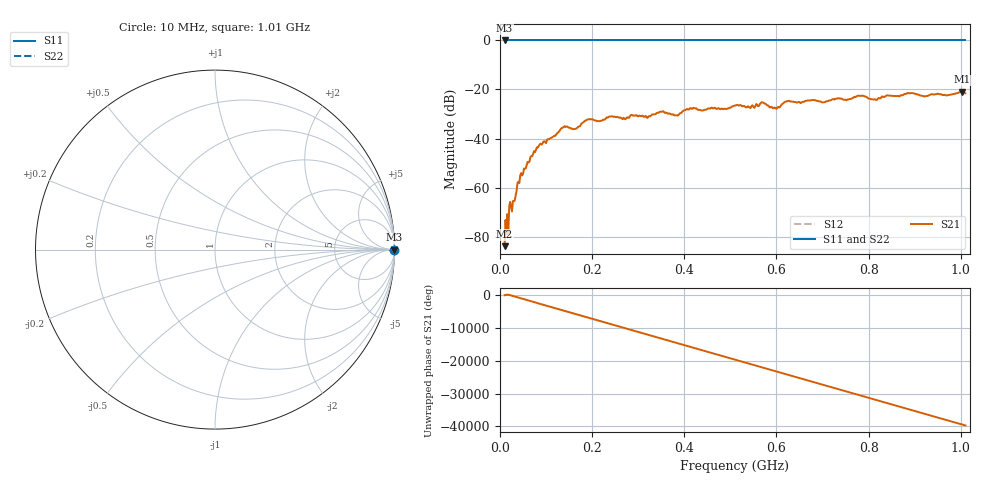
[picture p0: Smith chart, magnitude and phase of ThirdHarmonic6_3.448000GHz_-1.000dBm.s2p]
! 8/17/2025 11:08:01 AM
! C:\ANRITSUVNA\TEMP\TEMP.S2P
! CHANNEL.1
! TR.MEASUREMENT
! RAW.DATA
! RF.CORRECTION.OFF
! AVERAGING.OFF
! IF.BANDWIDTH: 5KHZ
! SWEEPTYPE:  FREQ.SWEEP(Linear)
! Reference Plane Port Info
! PORT:  PORT1  PORT2
! DISTANCE:  0  m  0  m
! TIME:  0  s  0  s
! PHASE.OFFSET:  0  deg.  0  deg.
! LOSS:  0  dB  0  dB
! REF.LOSS:  0  dB  0  dB
! REF.FREQ:  0  Hz  0  Hz
! Power Info
! POWER:  -20  dBm  -20  dBm
! EFF.POWER:  -20  dBm  -20  dBm
! SOURCE.ATTEN:  0  dB  0  dB
! TEST.ATTEN:  0  dB  0  dB
# GHZ S RI R 50.0
! FREQ.GHZ  S11RE  S11IM  S21RE  S21IM  S12RE  S12IM  S22RE  S22IM
!; PortSelection: Port_12
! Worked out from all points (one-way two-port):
!   501 points, 10 MHz to 1.01 GHz, reference 50 ohm
!   highest |S21| = -20.94 dB at 1.002 GHz (marker M1); lowest = -83.9 dB at 10 MHz (marker M2)
!   lowest |S11| = 0.0 dB at 10 MHz (marker M3)
!   |S11| at or under -10 dB: nowhere
!   |S22| runs from 0.0 to 0.0 dB; largest |S21 - S12| = 1.1
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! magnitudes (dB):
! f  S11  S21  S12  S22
! 10 MHz  0.0  -83.9  0.0  0.0
! 24 MHz  0.0  -67.8  0.0  0.0
! 30 MHz  0.0  -65.5  0.0  0.0
! 42 MHz  0.0  -58.1  0.0  0.0
! 76 MHz  0.0  -45.5  0.0  0.0
! 136 MHz  0.0  -35.6  0.0  0.0
! 162 MHz  0.0  -36.2  0.0  0.0
! 178 MHz  0.0  -33.7  0.0  0.0
! 192 MHz  0.0  -32.1  0.0  0.0
! 344 MHz  0.0  -29.5  0.0  0.0
! 382 MHz  0.0  -30.5  0.0  0.0
! 416 MHz  0.0  -27.9  0.0  0.0
! 510 MHz  0.0  -26.5  0.0  0.0
! 570 MHz  0.0  -25.3  0.0  0.0
! 596 MHz  0.0  -27.4  0.0  0.0
! 624 MHz  0.0  -24.7  0.0  0.0
! 678 MHz  0.0  -24.3  0.0  0.0
! 782 MHz  0.0  -22.6  0.0  0.0
! 814 MHz  0.0  -24.0  0.0  0.0
! 844 MHz  0.0  -22.5  0.0  0.0
! 1.002 GHz  0.0  -20.9  0.0  0.0
! 1.01 GHz  0.0  -21.6  0.0  0.0
